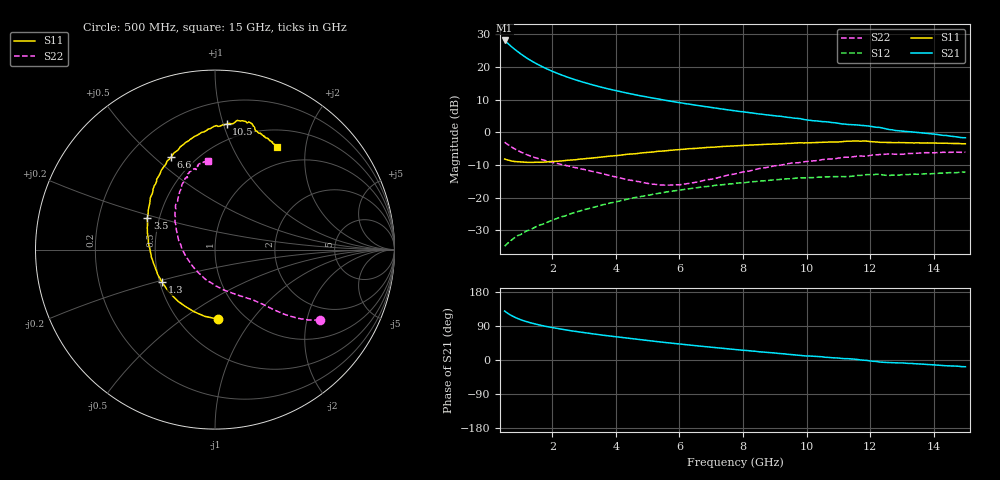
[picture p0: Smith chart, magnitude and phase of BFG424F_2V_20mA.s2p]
! Filename BFG424F_2V_20mA.prm
! Simulation_Values
! Created	by	janssen	on	nov	2006
!	Column ranking S11, S21,S12,S22 both magnitude and phase.
!	VCE	=	2	V,	IC	=	20	mA
!	Common	Emitter	S-Parameters
#	GHZ	S	MA	R	50
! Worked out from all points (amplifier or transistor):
!   146 points, 500 MHz to 15 GHz, reference 50 ohm
!   highest |S21| = 28.1 dB at 500 MHz (marker M1)
!   |S21| within 3 dB of that: start of sweep to 854.4 MHz
!   unconditionally stable (mu >= 1): 1.615 GHz to end of sweep
!   at 2.9 GHz: K = 1.15, MAG = 17.4 dB, |S12| = -24.0 dB
!   at 7.8 GHz: K = 1.15, MAG = 8.7 dB, |S12| = -15.6 dB
!   at 15 GHz: K = 1.43, MAG = 1.4 dB, |S12| = -12.2 dB
!   lowest NFmin = 1.90 dB at 900 MHz
!   S11 on the Smith chart (normalised r, x): 500 MHz: 0.76, -0.69; 1.3 GHz: 0.52, -0.21; 3.5 GHz: 0.43, +0.18; 6.6 GHz: 0.37, +0.57; 10.5 GHz: 0.37, +1.02; 15 GHz: 0.74, +1.51
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0.5  0.388 -87.5  25.45 129.2  0.018 65.1  0.704 -33.9
0.6  0.376 -98.9  22.95 123.1  0.02 62.9  0.649 -37.1
0.7  0.365 -108.9  20.79 118.0  0.022 62.8  0.602 -39.5
0.8  0.357 -117.8  18.9 113.7  0.024 62.4  0.562 -41.4
0.9  0.354 -125.4  17.31 109.9  0.026 62.2  0.529 -43.0
1  0.35 -132.0  15.93 106.6  0.027 62.3  0.5 -44.2
1.1  0.349 -137.9  14.71 103.6  0.029 62.8  0.475 -45.3
1.3  0.346 -148.2  12.74 98.6  0.032 63.7  0.434 -47.2
1.4  0.346 -152.6  11.93 96.3  0.034 64.3  0.417 -48.1
1.6  0.347 -160.3  10.58 92.3  0.038 64.9  0.39 -49.9
2  0.357 -173.2  8.587 85.6  0.045 66.5  0.346 -53.6
2.5  0.373 174.3  6.921 78.4  0.055 67.3  0.305 -59.4
3  0.392 164.0  5.788 72.2  0.065 67.2  0.269 -66.4
3.5  0.416 155.1  4.957 66.6  0.075 66.5  0.237 -75.3
4.4  0.462 141.3  3.935 57.2  0.095 64.2  0.186 -96.6
5.4  0.512 128.6  3.187 47.6  0.117 60.1  0.156 -130.9
6.6  0.57 115.4  2.56 37.0  0.142 55.0  0.174 -174.8
7.8  0.621 104.6  2.119 27.5  0.166 49.2  0.233 155.5
10.2  0.693 87.0  1.5 10.0  0.202 36.9  0.364 123.2
10.5  0.703 84.8  1.455 8.4  0.206 35.5  0.381 120.7
12.6  0.7 70.4  1.101 -6.7  0.217 26.4  0.466 105.2
15  0.667 58.8  0.823 -17.7  0.245 18.4  0.495 94.6
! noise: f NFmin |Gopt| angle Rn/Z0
0.9  1.9  0.19  -165.5  0.18
2  2.2  0.17  -155.5  0.2
